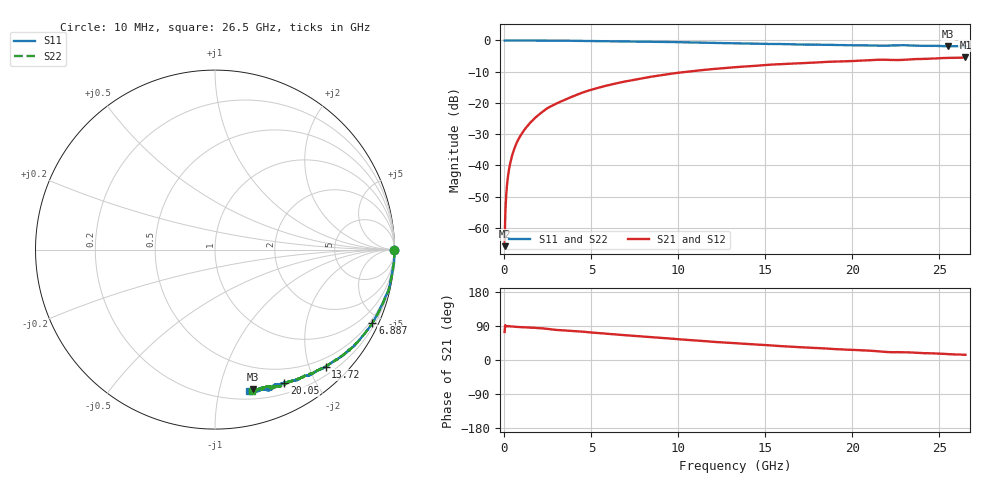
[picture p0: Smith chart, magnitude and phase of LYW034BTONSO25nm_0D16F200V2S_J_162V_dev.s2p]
!Keysight Technologies,N5222B,MY61253708,A.15.00.15
!Date: Wednesday, June 19, 2024 10:18:01
!Correction: S11(C  2-Port  )
!S21(C  2-Port  )
!S12(C  2-Port  )
!S22(C  2-Port  )
!S2P File: Measurements: S11, S21, S12, S22:
# Hz S  RI  R 50
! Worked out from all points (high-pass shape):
!   2651 points, 10 MHz to 26.5 GHz, reference 50 ohm
!   highest |S21| = -5.42 dB at 26.5 GHz (marker M1); lowest = -65.9 dB at 10 MHz (marker M2)
!   |S21| within 3 dB of the highest: 13.57881 GHz to 13.61459 GHz (35.78 MHz wide, 0.263 % of centre); 13.62 GHz to end of sweep
!   lowest |S11| = -1.9 dB at 25.5 GHz (marker M3), VSWR 9.20, Z = 14.4 - j63.2 ohm
!   |S11| at or under -10 dB: nowhere
!   |S22| runs from -1.8 to 0.0 dB; largest |S21 - S12| = 0.0059
!   S11 on the Smith chart (normalised r, x): 10 MHz: open; 6.887 GHz: 0.36, -4.49; 13.72 GHz: 0.34, -2.28; 20.05 GHz: 0.32, -1.60; 26.5 GHz: 0.27, -1.23
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1e7  0.9983 -0.00316  0.00014 0.000489  -6.34e-05 0.000381  0.9983 -0.00156
7.997358e7  0.9999 -0.00569  1.21e-05 0.00262  4.9e-06 0.00259  0.9994 -0.00517
1.599434e8  0.9999 -0.0112  6.21e-05 0.00522  4.82e-05 0.00524  0.9997 -0.0104
2.099245e8  0.9997 -0.014  0.0001 0.00686  9.24e-05 0.00686  0.9996 -0.0133
2.699019e8  0.9998 -0.0181  0.000141 0.00882  9.08e-05 0.00884  1 -0.0172
3.798604e8  0.9995 -0.0258  0.000324 0.0124  0.000325 0.0124  0.9996 -0.0248
5.098113e8  0.9989 -0.0337  0.000554 0.0166  0.000572 0.0166  0.999 -0.0326
6.697509e8  0.9984 -0.0437  0.000886 0.0218  0.000874 0.0219  0.9988 -0.0425
8.596792e8  0.9982 -0.0564  0.00153 0.0278  0.00152 0.028  0.9976 -0.0555
1.469449e9  0.9911 -0.0976  0.00364 0.0479  0.00363 0.048  0.9936 -0.093
2.349117e9  0.9824 -0.1513  0.00988 0.0774  0.01 0.0776  0.9838 -0.1504
3.26877e9  0.9711 -0.209  0.0211 0.1042  0.0212 0.1045  0.9715 -0.2074
4.428332e9  0.9441 -0.2775  0.0372 0.1395  0.0374 0.14  0.9466 -0.2733
6.887404e9  0.8767 -0.4083  0.09 0.1994  0.0911 0.1996  0.8792 -0.4061
8.846664e9  0.808 -0.4984  0.1413 0.2346  0.1424 0.2348  0.8113 -0.4946
1.3255e10  0.6344 -0.64  0.2669 0.2605  0.2685 0.2599  0.6412 -0.6362
1.372482e10  0.6162 -0.6525  0.2797 0.2593  0.2812 0.2584  0.6219 -0.6475
1.767333e10  0.464 -0.7216  0.373 0.235  0.3756 0.233  0.4779 -0.7173
2.005243e10  0.3867 -0.745  0.4199 0.2111  0.4217 0.208  0.4039 -0.742
2.209166e10  0.3287 -0.7566  0.4566 0.1746  0.4577 0.1715  0.3268 -0.7619
2.550038e10  0.2092 -0.7763  0.5066 0.139  0.5076 0.1382  0.2336 -0.7784
2.65e10  0.1895 -0.7902  0.5202 0.1276  0.5192 0.1236  0.2071 -0.7885
